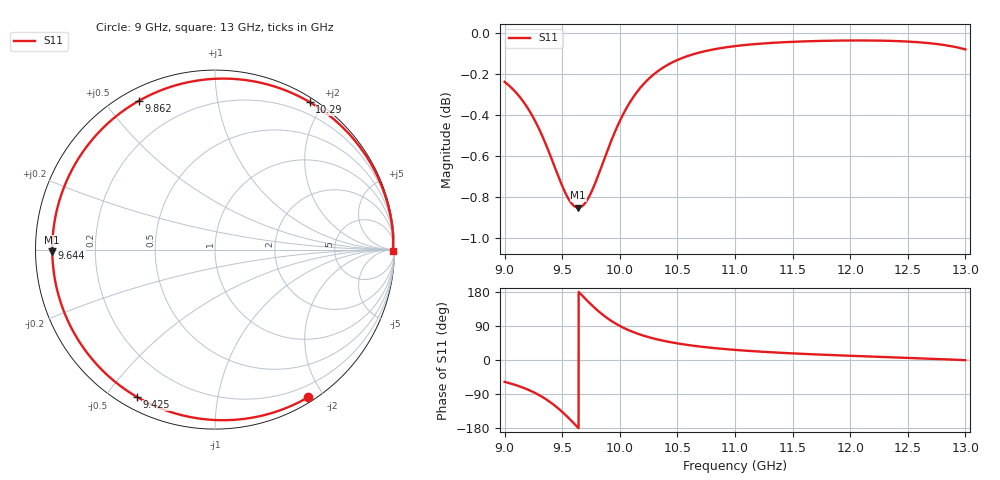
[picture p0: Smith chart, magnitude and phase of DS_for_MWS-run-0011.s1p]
! TOUCHSTONE file generated by CST DESIGN STUDIO
! Date and time: Tue Feb  4 17:54:18 2025
! Project name: C:\Work\MatlabApps\UnitCellOptimizationMatlab\CST\unitcell.cst
! Tree item: Tasks\Sweep1\SPara1\S-Parameters
! Header version: 2024
! Port assignment regex: !\s*Touchstone port\s*([0-9]+)\s*=\s*(CST MWS port|CST DES external port|CST DES block port)\s*(.+)\s* \(\"(.*)\"\)(\s*mode\s*([0-9]+))?.*
! Touchstone port assignment:
! Touchstone port 1 = CST DES external port 1 ("")
# GHz S MA R 50
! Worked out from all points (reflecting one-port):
!   4001 points, 9 GHz to 13 GHz, reference 50 ohm
!   lowest |S11| = -0.9 dB at 9.639 GHz (marker M1), VSWR 20.44, Z = 2.45 - j0.421 ohm
!   phase of S11 starts at -58 deg and turns -303 deg over the sweep
!   S11 on the Smith chart (normalised r, x): 9 GHz: 0.06, -1.82; 9.425 GHz: 0.05, -0.60; 9.644 GHz: 0.05, +0.01; 9.862 GHz: 0.05, +0.61; 10.29 GHz: 0.05, +1.83; 13 GHz: open
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9  0.9729 -57.7
9.108  0.9664 -67.3
9.215  0.9572 -79.9
9.331  0.9433 -98.2
9.38  0.9361 -107.8
9.425  0.9292 -117.8
9.463  0.9233 -127.1
9.5  0.9178 -136.9
9.574  0.9094 -158.6
9.639  0.9067 -179.0
9.644  0.9068 179.4
9.7  0.9091 161.7
9.762  0.9158 143.1
9.812  0.9232 129.4
9.862  0.9312 117.0
9.927  0.9415 103.1
10  0.9518 90.0
10.067  0.9597 80.0
10.135  0.9662 71.6
10.287  0.9766 57.2
10.387  0.9811 50.2
10.5  0.9849 43.8
10.719  0.9894 34.7
11  0.9925 26.6
11.5  0.9949 17.4
12  0.9957 11.2
12.5  0.9951 5.8
13  0.9907 -0.6
